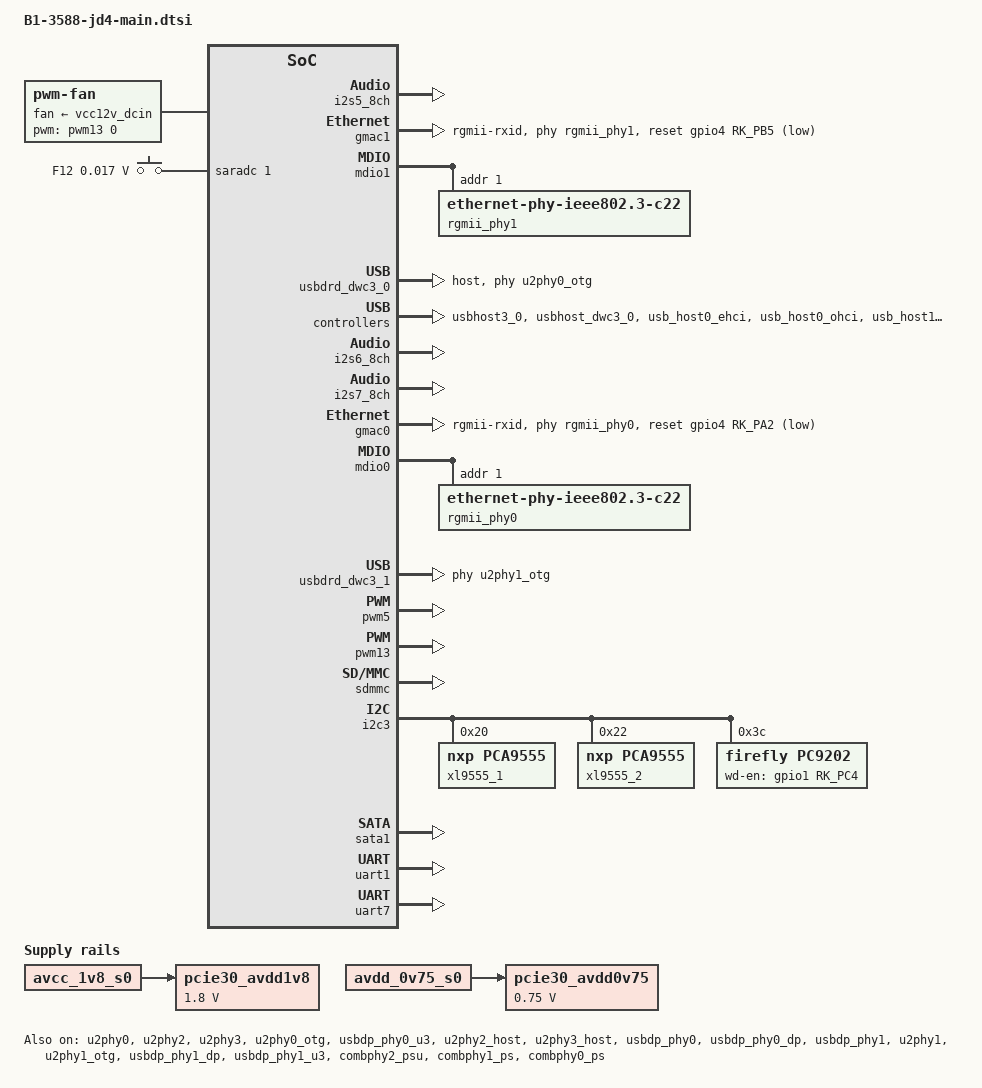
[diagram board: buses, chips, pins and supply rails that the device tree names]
// SPDX-License-Identifier: (GPL-2.0+ OR MIT)
/*
 * Copyright (c) 2021 Rockchip Electronics Co., Ltd.
 *
 */

#include "core-3588-jd4.dtsi"


 / {
/* led */
	firefly_leds: leds {
		power_led: power {
			gpios = <&gpio3 RK_PC4 GPIO_ACTIVE_LOW>;//green led
            default-state = "on";
		};

		// user_led: user {
		// 	gpios = <&pca9555 PCA_IO0_3 GPIO_ACTIVE_HIGH>; //yellow led
        //     default-state = "off";
		// };
	};

	// firefly_leds: leds {
	// 	compatible = "gpio-leds";
	// 	status = "okay";
	// 	power_led: power {
	// 		label = ":power"; //green led
	// 		linux,default-trigger = "ir-power-click";
	// 		default-state = "on";
	// 		gpios = <&gpio1 RK_PB3 GPIO_ACTIVE_HIGH>;
	// 	};

	// 	user_led: user {
	// 		label = ":user"; //yellow led
	// 		linux,default-trigger = "ir-user-click";
	// 		default-state = "off";
	// 		gpios = <&pca9555 PCA_IO0_3 GPIO_ACTIVE_HIGH>;
	// 	};
	// };

	fan: pwm-fan {
		compatible = "pwm-fan";
		#cooling-cells = <2>;
		fan-supply = <&vcc12v_dcin>;
		pwms = <&pwm13 0 50000 1>;
	};


	adc_keys: adc-keys {
		status = "okay";
		compatible = "adc-keys";
		io-channels = <&saradc 1>;
		io-channel-names = "buttons";
		keyup-threshold-microvolt = <1800000>;
		poll-interval = <100>;

		recovery-key{
			label = "F12";
			linux,code = <KEY_F12>;
			press-threshold-microvolt = <17000>;
		};
	};

	vcc3v3_pcie30: vcc3v3-pcie30 {
		compatible = "regulator-fixed";
		regulator-name = "vcc3v3_pcie30";
		regulator-min-microvolt = <3300000>;
		regulator-max-microvolt = <3300000>;
		enable-active-high;
		gpios = <&gpio2 RK_PC5 GPIO_ACTIVE_HIGH>;
		startup-delay-us = <5000>;
		vin-supply = <&vcc12v_dcin>;
		status = "disabled";
	};

	pcie30_avdd1v8: pcie30-avdd1v8 {
		compatible = "regulator-fixed";
		regulator-name = "pcie30_avdd1v8";
		regulator-boot-on;
		regulator-always-on;
		regulator-min-microvolt = <1800000>;
		regulator-max-microvolt = <1800000>;
		vin-supply = <&avcc_1v8_s0>;
	};

	pcie30_avdd0v75: pcie30-avdd0v75 {
		compatible = "regulator-fixed";
		regulator-name = "pcie30_avdd0v75";
		regulator-boot-on;
		regulator-always-on;
		regulator-min-microvolt = <750000>;
		regulator-max-microvolt = <750000>;
		vin-supply = <&avdd_0v75_s0>;
	};

	/* If hdmirx node is disabled, delete the reserved-memory node here. */
	reserved-memory {
		#address-cells = <2>;
		#size-cells = <2>;
		ranges;

		/* Reserve 256MB memory for hdmirx-controller@fdee0000 */
		cma {
			compatible = "shared-dma-pool";
			reusable;
			reg = <0x0 (256 * 0x100000) 0x0 (256 * 0x100000)>;
			linux,cma-default;
		};
	};
};

&i2s0_8ch {
	status = "disabled";
	pinctrl-0 = <&i2s0_lrck
				&i2s0_sclk
				&i2s0_sdi0
				&i2s0_sdo0>;
};

&i2s5_8ch {
	status = "okay";
};

&gmac1 {
	/* Use rgmii-rxid mode to disable rx delay inside Soc */
	phy-mode = "rgmii-rxid";
	clock_in_out = "output";

	snps,reset-gpio = <&gpio3 RK_PB7 GPIO_ACTIVE_LOW>;
	snps,reset-active-low;
	/* Reset time is 20ms, 100ms for rtl8211f */
	snps,reset-delays-us = <0 20000 100000>;

	pinctrl-names = "default";
	pinctrl-0 = <&gmac1_miim
			&gmac1_tx_bus2
			&gmac1_rx_bus2
			&gmac1_rgmii_clk
			&gmac1_rgmii_bus>;

	tx_delay = <0x42>;
	//rx_delay = <0x4f>;

	phy-handle = <&rgmii_phy1>;
	status = "disbaled";
};

&mdio1 {
	rgmii_phy1: phy@1 {
		compatible = "ethernet-phy-ieee802.3-c22";
		reg = <0x1>;
	};
};

&usbdrd_dwc3_0 {
	dr_mode = "host";
	phys = <&u2phy0_otg>, <&usbdp_phy0_u3>;
	status = "okay";
};

&usbhost3_0 {
	status = "okay";
};

&usbhost_dwc3_0 {
	status = "okay";
};

&u2phy0 {
	status = "okay";
};

&u2phy2 {
	status = "okay";
};

&u2phy3 {
	status = "okay";
};

&u2phy0_otg {
	status = "okay";
	rockchip,typec-vbus-det;
};

&usbdp_phy0_u3 {
	status = "okay";
};

&u2phy2_host {
	status = "okay";
	/delete-property/ phy-supply;
};

&u2phy3_host {
	status = "okay";
	/delete-property/ phy-supply;
};

&usb_host0_ehci {
	status = "okay";
};

&usb_host0_ohci {
	status = "okay";
};

&usb_host1_ehci {
	status = "okay";
};

&usb_host1_ohci {
	status = "okay";
};


&usbdp_phy0 {
	status = "okay";
	// orientation-switch;
	// svid = <0xff01>;
	// sbu1-dc-gpios = <&gpio4 RK_PA6 GPIO_ACTIVE_HIGH>;
	// sbu2-dc-gpios = <&gpio4 RK_PA7 GPIO_ACTIVE_HIGH>;

	// port {
	// 	#address-cells = <1>;
	// 	#size-cells = <0>;
	// };
};

&usbdp_phy0_dp {
	status = "okay";
};

&usbdrd3_0 {
	status = "okay";
};

&i2s6_8ch {
	status = "okay";
};

&i2s7_8ch {
	status = "okay";
};

&usbdp_phy1 {
	rockchip,dp-lane-mux = <2 3>;
	status = "disabled";
};

&gmac0 {
	/* Use rgmii-rxid mode to disable rx delay inside Soc */
	phy-mode = "rgmii-rxid";
	clock_in_out = "output";

	snps,reset-gpio = <&gpio3 RK_PC7 GPIO_ACTIVE_LOW>;
	snps,reset-active-low;
	/* Reset time is 20ms, 100ms for rtl8211f */
	snps,reset-delays-us = <0 20000 100000>;

	pinctrl-names = "default";
	pinctrl-0 = <&gmac0_miim
			&gmac0_tx_bus2
			&gmac0_rx_bus2
			&gmac0_rgmii_clk
			&gmac0_rgmii_bus>;

	tx_delay = <0x45>;
	//rx_delay = <0x4a>;

	phy-handle = <&rgmii_phy0>;
	status = "disbaled";
};

&mdio0 {
	rgmii_phy0: phy@1 {
		compatible = "ethernet-phy-ieee802.3-c22";
		reg = <0x1>;
	};
};

&u2phy1 {
	status = "okay";
};

&u2phy1_otg {
	/delete-property/ phy-supply;
	status = "okay";
};

&usbdp_phy1 {
	status = "okay";
};

&usbdp_phy1_dp {
	status = "okay";
};

&usbdp_phy1_u3 {
	status = "okay";
};

&usbdrd3_1 {
	status = "okay";
};

&usbdrd_dwc3_1 {
	status = "okay";
	phys = <&u2phy1_otg>, <&usbdp_phy1_u3>;
    status = "okay";
};

&combphy2_psu{
        status = "okay";
};

// /* gamc0 */
&gmac0 {
	/* Use rgmii-rxid mode to disable rx delay inside Soc */
	phy-mode = "rgmii-rxid";
	clock_in_out = "output";

	snps,reset-gpio = <&gpio4 RK_PA2 GPIO_ACTIVE_LOW>;
	snps,reset-active-low;
	/* Reset time is 20ms, 100ms for rtl8211f */
	snps,reset-delays-us = <0 20000 100000>;

	pinctrl-names = "default";
	pinctrl-0 = <&gmac0_miim
			&gmac0_tx_bus2
			&gmac0_rx_bus2
			&gmac0_rgmii_clk
			&gmac0_rgmii_bus>;

	tx_delay = <0x45>;
	//rx_delay = <0x4a>;

	phy-handle = <&rgmii_phy0>;
	status = "okay";
};

&gmac0_tx_bus2{
    rockchip,pins =
    /* gmac0_txd0 */
    <2 RK_PB6 1 &pcfg_pull_up_drv_level_6>,
    /* gmac0_txd1 */
    <2 RK_PB7 1 &pcfg_pull_up_drv_level_6>,
    /* gmac0_txen */
    <2 RK_PC0 1 &pcfg_pull_none>;
};

&gmac0_rgmii_bus{
	rockchip,pins =
	/* gmac0_rxd2 */
	<2 RK_PA6 1 &pcfg_pull_none>,
	/* gmac0_rxd3 */
	<2 RK_PA7 1 &pcfg_pull_none>,
	/* gmac0_txd2 */
	<2 RK_PB1 1 &pcfg_pull_up_drv_level_6>,
	/* gmac0_txd3 */
	<2 RK_PB2 1 &pcfg_pull_up_drv_level_6>;
};

/* gmac1 */
&gmac1 {
	snps,reset-gpio = <&gpio4 RK_PB5 GPIO_ACTIVE_LOW>;
	tx_delay = <0x45>;
	status = "okay";
};

&gmac1_tx_bus2{
	rockchip,pins =
	/* gmac1_txd0 */
	<3 RK_PB3 1 &pcfg_pull_up_drv_level_6>,
    /* gmac1_txd1 */
	<3 RK_PB4 1 &pcfg_pull_up_drv_level_6>,
	/* gmac1_txen */
	<3 RK_PB5 1 &pcfg_pull_none>;
};

&gmac1_rgmii_bus{
	rockchip,pins =
	/* gmac1_rxd2 */
	<3 RK_PA2 1 &pcfg_pull_none>,
	/* gmac1_rxd3 */
	<3 RK_PA3 1 &pcfg_pull_none>,
	/* gmac1_txd2 */
	<3 RK_PA0 1 &pcfg_pull_up_drv_level_6>,
	/* gmac1_txd3 */
	<3 RK_PA1 1 &pcfg_pull_up_drv_level_6>;
};


&pwm5 {
	pinctrl-0 = <&pwm5m1_pins>;
	status = "okay";
};

// fan
&pwm13 {
	pinctrl-0 = <&pwm13m0_pins>;
	status = "okay";
};


/* tf-card */
&sdmmc {
	status = "okay";
};

&mdio0 {
	rgmii_phy0: phy@1 {
		compatible = "ethernet-phy-ieee802.3-c22";
		reg = <0x1>;
	};
};

&i2c3 {
	status = "okay";
	pinctrl-names = "default";
	pinctrl-0 = <&i2c3m2_xfer>;
	// clock-frequency = <400000>;

	/* XL9555*/
	xl9555_1: gpio@20 {
		status = "okay";
		compatible = "nxp,pca9555";
		reg = <0x20>;
		gpio-controller;
		#gpio-cells = <2>;
		gpio-group-num = <200>;
	};

	xl9555_2: gpio@22 {
		status = "okay";
		compatible = "nxp,pca9555";
		reg = <0x22>;
		gpio-controller;
		#gpio-cells = <2>;
		gpio-group-num = <300>;
	};

	pc9202: pc9202@3c {
		status = "okay";
		compatible = "firefly,pc9202";
		reg = <0x3c>;
		wd-en-gpio = <&gpio1 RK_PC4 GPIO_ACTIVE_HIGH>;         // GPIO1_C4
		pinctrl-names = "default";
		pinctrl-0 = <&wdt_ctl1>;
		driver-names = "wdtdiban";
	};
};

// sata
&pcie2x1l0 {
	status = "disabled";
};

&sata1 {
	status = "okay";
};

&combphy1_ps {
	status = "okay";
};
// sata end

&combphy0_ps{
	status = "okay";
};

/* can1 */
&can1 {
	status = "disabled";
	assigned-clocks = <&cru CLK_CAN1>;
	assigned-clock-rates = <200000000>;
	pinctrl-names = "default";
	pinctrl-0 = <&can1m1_pins>;
};

/* RS485 */
&uart1{
	pinctrl-0 = <&uart1m1_xfer>;
	status = "okay";
};

/* RS232 */
&uart7{
	pinctrl-0 = <&uart7m1_xfer>;
	status = "okay";
};


/* pinctrl */
&pinctrl {
	watchdog {
		wdt_ctl1: wdt-ctl {
				rockchip,pins =
				<1 RK_PC4 RK_FUNC_GPIO &pcfg_pull_none>;            //GPIO1_C4
		};
	};

	pcie {
		pcieclk_gpio: pcieclk-gpio {
			/* led_power */
			rockchip,pins = <3 22 RK_FUNC_GPIO &pcfg_pull_down>,
							<3 21 RK_FUNC_GPIO &pcfg_pull_down>,
							<4 14 RK_FUNC_GPIO &pcfg_pull_down>;

		};
 	};

	headphone {
		hp_det: hp-det {
			rockchip,pins = <2 RK_PC3 RK_FUNC_GPIO &pcfg_pull_none>;
		};
	};

	sata {
		sata_reset:sata-reset{
			rockchip,pins = <4 RK_PC1 RK_FUNC_GPIO &pcfg_pull_none>;
		};
	};

};
